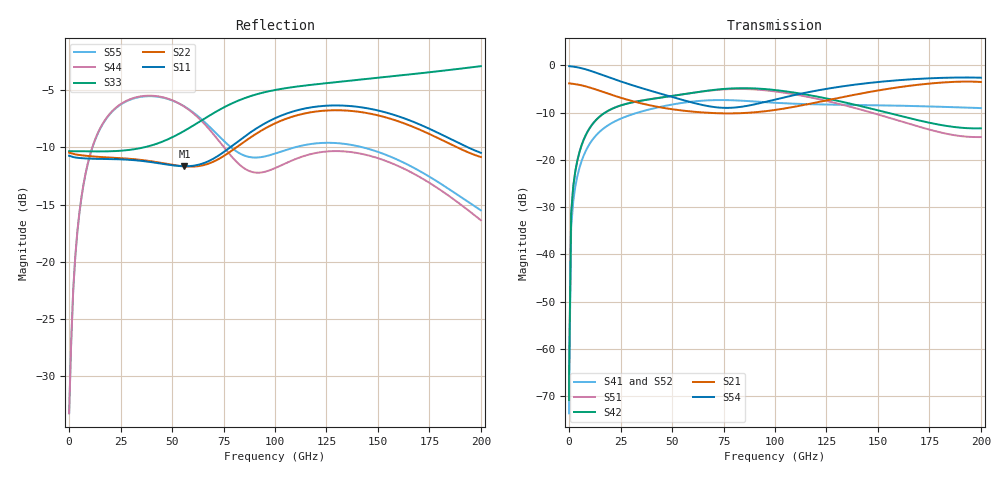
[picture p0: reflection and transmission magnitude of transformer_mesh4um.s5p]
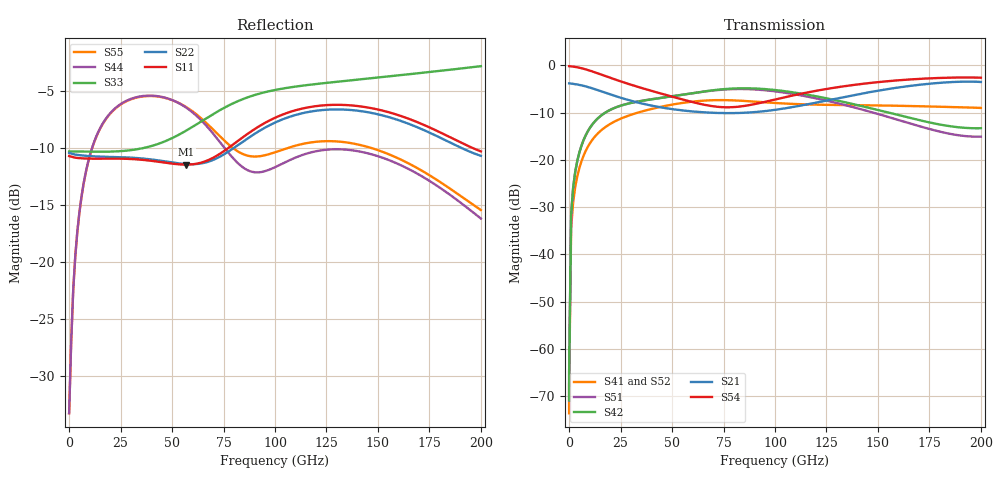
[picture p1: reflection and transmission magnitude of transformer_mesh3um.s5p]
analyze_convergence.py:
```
#!/usr/bin/env python
"""Mesh convergence analysis for the Transformer_IMN 5-port structure.

Reads de-embedded 5-port Touchstone files from results/snp/, reduces each to
the 4-port subnetwork on ports 1,2,4,5 (port 3, the primary center tap, is
dropped -- equivalent to leaving it terminated in its 50 ohm reference
impedance), computes mixed-mode Sdd11/Sdd21/Sdd22 (primary differential pair
= ports 1,2; secondary differential pair = ports 4,5) via the classical
Bockelman-Eisenstadt formulas, then computes delta-S tables and overlay plots
across mesh variants.

Mixed-mode formulas (derived directly, not via skrf.se2gmm, to avoid any
ambiguity in that API's port-ordering convention for a 2-pair network):
given the 4-port subnetwork with local port order [1:primary+, 2:primary-,
3:secondary+, 4:secondary-] (0-indexed 0,1,2,3):

    Sdd11 = 0.5 * (S11 - S12 - S21 + S22)   # primary differential return loss
    Sdd21 = 0.5 * (S31 - S32 - S41 + S42)   # primary -> secondary diff. transmission
    Sdd22 = 0.5 * (S33 - S34 - S43 + S44)   # secondary differential return loss

(derivation: apply a1=1, a2=-1, a3=a4=0 unit differential stimulus at the
primary pair; b_d1 = b1-b2, b_d2 = b3-b4; Sdd_i1 = b_di / (a1-a2).)

Reference impedance: every port here uses port_Z0=50.0 (real, equal), so
this bd/ad ratio is exactly the standard Bockelman-Eisenstadt mixed-mode
S-parameter, referenced to a 100 ohm differential source/load impedance
(2x50 ohm) -- the sqrt(2) factor in the formal ad=(a1-a2)/sqrt(2),
bd=(b1-b2)/sqrt(2) definition cancels in the bd/ad ratio, so it's omitted
here without changing the result or its reference impedance.
"""
import os
import csv
import numpy as np
import skrf as rf
import matplotlib
matplotlib.use("Agg")
import matplotlib.pyplot as plt

HERE = os.path.dirname(os.path.abspath(__file__))
SNP_DIR = os.path.join(HERE, "snp")
PLOT_DIR = os.path.join(HERE, "plots")

UNIFORM_SERIES = [
    # mesh5 (5 um) omitted: Palace crashes (GetMaxSingularValue NaN) at this
    # cell size for this geometry -- see report for details.
    ("mesh4", "4 um (uniform)", "transformer_mesh4um.s5p"),
    ("mesh3", "3 um (uniform)", "transformer_mesh3um.s5p"),
    ("mesh2", "2 um (uniform)", "transformer_mesh2um.s5p"),
    ("mesh1", "1 um (uniform)", "transformer_mesh1um.s5p"),
]
AMR_ENTRY = ("amr3", "AMR (2 um start, 3 it.)", "transformer_amr3_final.s5p")

# ports 1,2,4,5 (1-indexed) = 0,1,3,4 (0-indexed); port 3 (center tap) dropped
KEEP_PORTS_0IDX = [0, 1, 3, 4]

# This structure's actual design target -- fixed, not derived from the
# simulated peak-coupling band. An earlier version of this script picked the
# eval frequency automatically from the -3dB band around peak |Sdd21| (which
# landed on 80 GHz here); that has nothing to do with where this transformer
# is actually used and has been replaced with the real 30 GHz target.
DESIGN_FREQ_HZ = 30.0e9


def delta_db_at_freq(fa, xa, fb, xb, freq_hz):
    ia = int(np.argmin(np.abs(fa - freq_hz)))
    ib = int(np.argmin(np.abs(fb - freq_hz)))
    if abs(fa[ia] - freq_hz) > 0.6e9 or abs(fb[ib] - freq_hz) > 0.6e9:
        return None
    return float(abs(db(xb[ib]) - db(xa[ia])))


def load(entry):
    key, label, fname = entry
    path = os.path.join(SNP_DIR, fname)
    if not os.path.isfile(path):
        return None
    nw5 = rf.Network(path)
    # drop the two synthetic sub-1GHz points (0.01/0.02 GHz) that gds2palace
    # injects to replace a requested DC (0 Hz) point -- not real solved
    # frequencies of interest, and not part of the 1-200 GHz linear sweep
    nw5 = nw5['1-200ghz']
    sub = nw5.subnetwork(KEEP_PORTS_0IDX)
    sub.name = label
    return key, label, sub


def sdd_traces(sub):
    """Return (Sdd11, Sdd21, Sdd22) complex arrays vs. frequency for a 4-port
    subnetwork ordered [primary+, primary-, secondary+, secondary-]."""
    s = sub.s
    S11, S12, S21, S22 = s[:, 0, 0], s[:, 0, 1], s[:, 1, 0], s[:, 1, 1]
    S31, S32, S41, S42 = s[:, 2, 0], s[:, 2, 1], s[:, 3, 0], s[:, 3, 1]
    S33, S34, S43, S44 = s[:, 2, 2], s[:, 2, 3], s[:, 3, 2], s[:, 3, 3]
    Sdd11 = 0.5 * (S11 - S12 - S21 + S22)
    Sdd21 = 0.5 * (S31 - S32 - S41 + S42)
    Sdd22 = 0.5 * (S33 - S34 - S43 + S44)
    return Sdd11, Sdd21, Sdd22


def db(x):
    return 20 * np.log10(np.abs(x))


def deg(x):
    return np.angle(x, deg=True)


def max_delta_linear(fa, xa, fb, xb):
    common = np.intersect1d(fa, fb)
    if common.size == 0:
        return None
    ia = np.searchsorted(fa, common)
    ib = np.searchsorted(fb, common)
    return float(np.max(np.abs(xb[ib] - xa[ia])))


def band_edge_delta_db(fa, xa, fb, xb):
    common = np.intersect1d(fa, fb)
    if common.size == 0:
        return None, None
    lo, hi = common[0], common[-1]
    ia_lo, ib_lo = np.searchsorted(fa, lo), np.searchsorted(fb, lo)
    ia_hi, ib_hi = np.searchsorted(fa, hi), np.searchsorted(fb, hi)
    d_lo = abs(db(xb[ib_lo]) - db(xa[ia_lo]))
    d_hi = abs(db(xb[ib_hi]) - db(xa[ia_hi]))
    return float(d_lo), float(d_hi)


PARAMS = ["Sdd11", "Sdd21", "Sdd22"]


def main():
    loaded = []
    for entry in UNIFORM_SERIES:
        result = load(entry)
        if result:
            loaded.append(result)
        else:
            print(f"WARNING: missing {entry[2]}, skipping")
    amr_result = load(AMR_ENTRY)

    if len(loaded) < 2:
        print("Need at least two uniform-mesh results; exiting.")
        return

    traces = {}  # key -> (freq, {param: complex array})
    for key, label, sub in loaded + ([amr_result] if amr_result else []):
        sdd11, sdd21, sdd22 = sdd_traces(sub)
        traces[key] = (sub.frequency.f, {"Sdd11": sdd11, "Sdd21": sdd21, "Sdd22": sdd22})

    design_freq_hz = DESIGN_FREQ_HZ
    design_freq_col = f"|dS_dB| at {design_freq_hz/1e9:.0f}GHz (design freq.)"
    print(f"Design frequency (fixed, actual application target): {design_freq_hz/1e9:.0f} GHz")

    def fmt(x):
        return f"{x:.4f}" if x is not None else "n/a"

    comparisons = [(loaded[i - 1], loaded[i]) for i in range(1, len(loaded))]
    if amr_result:
        comparisons.append((loaded[-1], amr_result))

    # ---------------- successive comparisons, grouped by param ----------------
    csv_path = os.path.join(HERE, "delta_S_table.csv")
    with open(csv_path, "w", newline="") as f:
        writer = csv.writer(f)
        writer.writerow(["Param", "Comparison", "Max|dS| (linear)",
                          "|dS_dB| at f_low", design_freq_col, "|dS_dB| at f_high"])
        for pname in PARAMS:
            for (key_a, label_a, _), (key_b, label_b, _) in comparisons:
                fa, xa = traces[key_a][0], traces[key_a][1][pname]
                fb, xb = traces[key_b][0], traces[key_b][1][pname]
                max_d = max_delta_linear(fa, xa, fb, xb)
                d_lo, d_hi = band_edge_delta_db(fa, xa, fb, xb)
                d_design = delta_db_at_freq(fa, xa, fb, xb, design_freq_hz)
                writer.writerow([pname, f"{label_a} -> {label_b}", fmt(max_d), fmt(d_lo), fmt(d_design), fmt(d_hi)])
    print(f"Wrote delta-S table: {csv_path}")

    # ---------------- every mesh vs. finest (1um) ----------------
    ref_key, ref_label, _ = loaded[-1]
    vs_finest = list(loaded[:-1])
    if amr_result:
        vs_finest.append(amr_result)

    csv_path_ref = os.path.join(HERE, "delta_S_vs_finest.csv")
    with open(csv_path_ref, "w", newline="") as f:
        writer = csv.writer(f)
        writer.writerow(["Param", "Mesh", f"Max|dS| vs. {ref_label} (linear)",
                          "|dS_dB| at f_low", design_freq_col, "|dS_dB| at f_high"])
        for pname in PARAMS:
            for key, label, _ in vs_finest:
                fa, xa = traces[key][0], traces[key][1][pname]
                fb, xb = traces[ref_key][0], traces[ref_key][1][pname]
                max_d = max_delta_linear(fa, xa, fb, xb)
                d_lo, d_hi = band_edge_delta_db(fa, xa, fb, xb)
                d_design = delta_db_at_freq(fa, xa, fb, xb, design_freq_hz)
                writer.writerow([pname, label, fmt(max_d), fmt(d_lo), fmt(d_design), fmt(d_hi)])
    print(f"Wrote delta-S-vs-finest table: {csv_path_ref}")

    # ---------------- overlay plots ----------------
    os.makedirs(PLOT_DIR, exist_ok=True)
    colors = ["#4c72b0", "#dd8452", "#55a868", "#c44e52", "#8172b2", "#937860"]
    all_keys = [k for k, _, _ in loaded] + (["amr3"] if amr_result else [])
    all_labels = {k: l for k, l, _ in loaded}
    if amr_result:
        all_labels[amr_result[0]] = amr_result[1]

    for pname in PARAMS:
        fig, (ax_mag, ax_phase) = plt.subplots(2, 1, figsize=(8, 7), sharex=True)
        for idx, key in enumerate(all_keys):
            freq, pdict = traces[key]
            color = colors[idx % len(colors)]
            style = "--" if key == "amr3" else "-"
            freq_ghz = freq / 1e9
            ax_mag.plot(freq_ghz, db(pdict[pname]), color=color, linestyle=style, label=all_labels[key])
            ax_phase.plot(freq_ghz, deg(pdict[pname]), color=color, linestyle=style, label=all_labels[key])
        ax_mag.set_ylabel(f"|{pname}| (dB)")
        ax_mag.grid(True, alpha=0.3)
        ax_mag.legend(fontsize=8)
        ax_mag.set_title(f"{pname} vs. mesh refinement")
        ax_phase.set_xlabel("Frequency (GHz)")
        ax_phase.set_ylabel(f"arg({pname}) (deg)")
        ax_phase.grid(True, alpha=0.3)
        fig.tight_layout()
        out_path = os.path.join(PLOT_DIR, f"{pname.lower()}_convergence.png")
        fig.savefig(out_path, dpi=150)
        plt.close(fig)
        print(f"Wrote plot: {out_path}")


if __name__ == "__main__":
    main()
```
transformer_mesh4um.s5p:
! Created with skrf 2.1.0 (http://scikit-rf.org).
# GHz S DB R 50.0
! Port[1] = P1
! Port[2] = P2
! Port[3] = P3
! Port[4] = P4
! Port[5] = P5
!freq dBS11 angS11 dBS12 angS12 dBS13 angS13
! dBS14 angS14 dBS15 angS15
! dBS21 angS21 dBS22 angS22 dBS23 angS23
! dBS24 angS24 dBS25 angS25
! dBS31 angS31 dBS32 angS32 dBS33 angS33
! dBS34 angS34 dBS35 angS35
! dBS41 angS41 dBS42 angS42 dBS43 angS43
! dBS44 angS44 dBS45 angS45
! dBS51 angS51 dBS52 angS52 dBS53 angS53
! dBS54 angS54 dBS55 angS55
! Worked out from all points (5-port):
!   202 points, 10 MHz to 200 GHz, reference 50 ohm
!   strongest paths, dB at 10 MHz, 49 GHz, 100 GHz, 150 GHz, 200 GHz:
!     S54: -0.2, -6.6, -7.3, -3.5, -2.6
!     S21: -3.8, -9.2, -9.5, -5.3, -3.5
!     S42: -70.8, -6.6, -5.2, -9.5, -13.3
!     S51: -70.8, -6.5, -5.5, -10.4, -15.2
!     S41: -73.6, -8.4, -7.9, -8.5, -9.1
!     S52: -73.6, -8.4, -8.0, -8.6, -9.3
!   lowest |S11| = -11.6 dB at 56 GHz (marker M1), VSWR 1.71, Z = 70.4 + j24.9 ohm
!   |S11| at or under -10 dB: start of sweep to 78.17 GHz; 193.8 GHz to end of sweep
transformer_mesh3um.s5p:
! Created with skrf 2.1.0 (http://scikit-rf.org).
# GHz S DB R 50.0
! Port[1] = P1
! Port[2] = P2
! Port[3] = P3
! Port[4] = P4
! Port[5] = P5
!freq dBS11 angS11 dBS12 angS12 dBS13 angS13
! dBS14 angS14 dBS15 angS15
! dBS21 angS21 dBS22 angS22 dBS23 angS23
! dBS24 angS24 dBS25 angS25
! dBS31 angS31 dBS32 angS32 dBS33 angS33
! dBS34 angS34 dBS35 angS35
! dBS41 angS41 dBS42 angS42 dBS43 angS43
! dBS44 angS44 dBS45 angS45
! dBS51 angS51 dBS52 angS52 dBS53 angS53
! dBS54 angS54 dBS55 angS55
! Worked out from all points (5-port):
!   202 points, 10 MHz to 200 GHz, reference 50 ohm
!   strongest paths, dB at 10 MHz, 49 GHz, 100 GHz, 150 GHz, 200 GHz:
!     S54: -0.2, -6.5, -7.2, -3.6, -2.6
!     S21: -3.8, -9.2, -9.4, -5.4, -3.5
!     S42: -70.8, -6.6, -5.2, -9.5, -13.3
!     S51: -70.8, -6.6, -5.5, -10.3, -15.1
!     S41: -73.6, -8.4, -8.0, -8.5, -9.0
!     S52: -73.6, -8.5, -8.0, -8.7, -9.3
!   lowest |S11| = -11.5 dB at 57 GHz (marker M1), VSWR 1.73, Z = 71.2 + j25.3 ohm
!   |S11| at or under -10 dB: start of sweep to 77.54 GHz; 195.7 GHz to end of sweep
